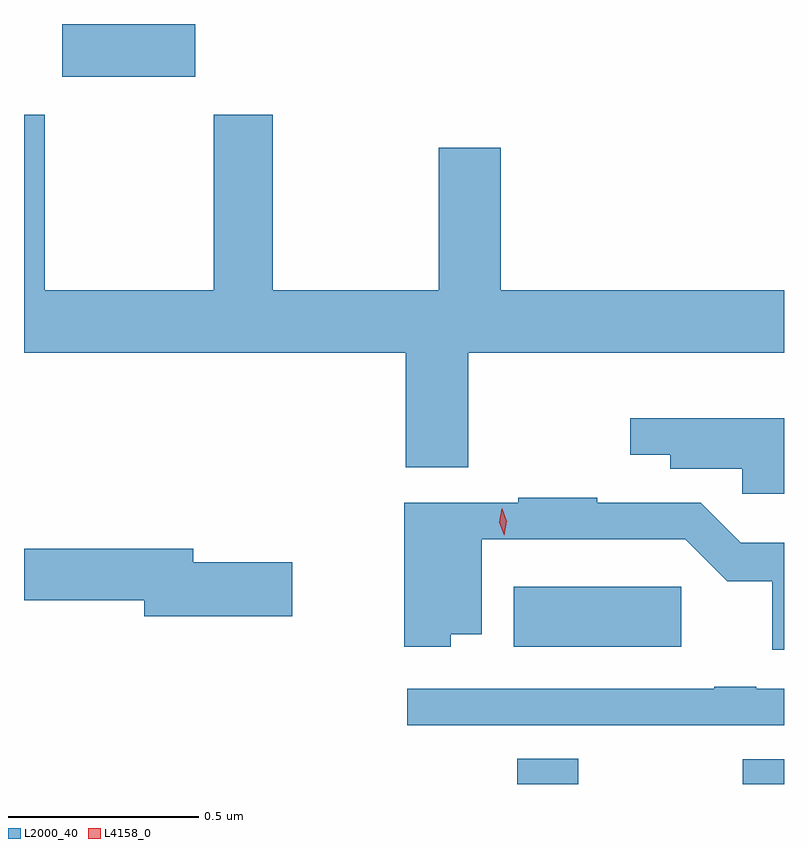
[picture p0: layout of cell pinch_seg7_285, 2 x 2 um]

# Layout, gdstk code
import gdstk
lib = gdstk.Library(unit=1e-6, precision=1e-09)
def R(c, l, rs):  # rectangles x0, y0, x1, y1
    for r in rs: c.add(gdstk.rectangle(r[:2], r[2:], *l))
def P(c, l, *ps):  # polygons
    for p in ps: c.add(gdstk.Polygon(p, *l))
L2000_40 = (2000, 40)
L4158_0 = (4158, 0)

pinch_seg7_285 = lib.new_cell('pinch_seg7_285')
R(pinch_seg7_285, L2000_40, [(668.711,1043.437,668.871,1043.503), (669.304,1043.437,669.413,1043.502), (668.702,1043.798,669.142,1043.956), (667.514,1045.298,667.864,1045.437)])
P(pinch_seg7_285, L2000_40, [(668.582,1044.572),(669.413,1044.572),(669.413,1044.736),(668.668,1044.736),(668.668,1045.111),(668.504,1045.111),(668.504,1044.736),(668.067,1044.736),(668.067,1045.198),(667.912,1045.198),(667.912,1044.736),(667.467,1044.736),(667.467,1045.198),(667.413,1045.198),(667.413,1044.572),(668.417,1044.572),(668.417,1044.27),(668.582,1044.27)],
  [(669.413,1044.4),(669.009,1044.4),(669.009,1044.303),(669.113,1044.303),(669.113,1044.266),(669.303,1044.266),(669.303,1044.201),(669.413,1044.201)],
  [(669.413,1044.072),(669.299,1044.072),(669.194,1044.177),(668.921,1044.177),(668.921,1044.19),(668.713,1044.19),(668.713,1044.177),(668.414,1044.177),(668.414,1043.798),(668.536,1043.798),(668.536,1043.831),(668.617,1043.831),(668.617,1044.081),(669.153,1044.081),(669.263,1043.971),(669.382,1043.971),(669.382,1043.79),(669.413,1043.79)],
  [(668.119,1044.02),(667.858,1044.02),(667.858,1044.056),(667.413,1044.056),(667.413,1043.92),(667.73,1043.92),(667.73,1043.878),(668.119,1043.878)],
  [(669.215,1043.592),(669.413,1043.592),(669.413,1043.688),(669.34,1043.688),(669.34,1043.693),(669.229,1043.693),(669.229,1043.688),(668.421,1043.688),(668.421,1043.592),(668.959,1043.592),(668.959,1043.591),(669.215,1043.591)])
P(pinch_seg7_285, L4158_0, [(668.677,1044.092),(668.677,1044.092),(668.664,1044.126),(668.67,1044.162),(668.671,1044.163),(668.671,1044.162),(668.684,1044.128),(668.677,1044.092)])

lib.write_gds('pinch_seg7_285.gds')
